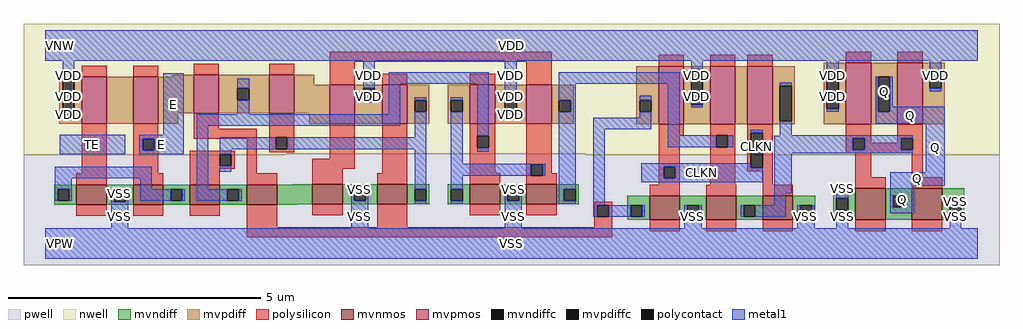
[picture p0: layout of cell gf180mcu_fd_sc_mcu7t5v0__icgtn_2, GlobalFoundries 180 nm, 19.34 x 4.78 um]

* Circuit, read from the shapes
.subckt gf180mcu_fd_sc_mcu7t5v0__icgtn_2 CLKN E TE Q VDD VNW VPW VSS
XM1 VSS TE n1 VPW nfet_06v0 w=0.395u l=0.6u
XM2 n1 E VSS VPW nfet_06v0 w=0.395u l=0.6u
XM3 n2 n3 n1 VPW nfet_06v0 w=0.395u l=0.6u
XM4 n4 n5 n2 VPW nfet_06v0 w=0.395u l=0.6u
XM5 VSS n6 n4 VPW nfet_06v0 w=0.395u l=0.6u
XM6 n3 n5 VSS VPW nfet_06v0 w=0.395u l=0.6u
XM7 VSS n2 n6 VPW nfet_06v0 w=0.395u l=0.6u
XM8 n7 n6 VSS VPW nfet_06v0 w=0.395u l=0.6u
XM9 VSS CLKN n5 VPW nfet_06v0 w=0.475u l=0.6u
XM10 n8 n7 VSS VPW nfet_06v0 w=0.475u l=0.6u
XM11 VSS CLKN n8 VPW nfet_06v0 w=0.475u l=0.6u
XM12 Q n8 VSS VPW nfet_06v0 w=0.63u l=0.6u m=2
XM13 n9 TE VDD VNW pfet_06v0 w=0.925u l=0.5u
XM14 n10 E n9 VNW pfet_06v0 w=0.925u l=0.5u
XM15 n2 n5 n10 VNW pfet_06v0 w=0.765u l=0.5u
XM16 n11 n3 n2 VNW pfet_06v0 w=0.765u l=0.5u
XM17 VDD n6 n11 VNW pfet_06v0 w=0.765u l=0.5u
XM18 n3 n5 VDD VNW pfet_06v0 w=0.765u l=0.5u
XM19 VDD n2 n6 VNW pfet_06v0 w=0.765u l=0.5u
XM20 n7 n6 VDD VNW pfet_06v0 w=0.765u l=0.5u
XM21 VDD CLKN n5 VNW pfet_06v0 w=1.155u l=0.5u
XM22 n12 n7 VDD VNW pfet_06v0 w=1.155u l=0.5u
XM23 n8 CLKN n12 VNW pfet_06v0 w=1.155u l=0.5u
XM24 Q n8 VDD VNW pfet_06v0 w=1.22u l=0.5u m=2
.ends

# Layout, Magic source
magic
tech gf180mcuD
magscale 1 10
<< nwell >>
rect -86 355 3782 870
rect -86 352 952 355
rect 2142 352 3782 355
<< pwell >>
rect 952 352 2142 355
rect -86 -86 3782 352
<< mvnmos >>
rect 124 153 244 232
rect 348 153 468 232
rect 572 153 692 232
rect 799 153 919 232
rect 1059 156 1179 235
rect 1315 156 1435 235
rect 1683 156 1803 235
rect 1907 156 2027 235
rect 2395 93 2515 188
rect 2619 93 2739 188
rect 2843 93 2963 188
rect 3211 93 3331 219
rect 3435 93 3555 219
<< mvpmos >>
rect 144 475 244 660
rect 348 475 448 660
rect 588 515 688 668
rect 887 515 987 668
rect 1127 475 1227 628
rect 1335 475 1435 628
rect 1683 475 1783 628
rect 1907 475 2007 628
rect 2431 472 2531 703
rect 2635 472 2735 703
rect 2783 472 2883 703
rect 3173 472 3273 716
rect 3377 472 3477 716
<< mvndiff >>
rect 979 232 1059 235
rect 36 215 124 232
rect 36 169 49 215
rect 95 169 124 215
rect 36 153 124 169
rect 244 212 348 232
rect 244 166 273 212
rect 319 166 348 212
rect 244 153 348 166
rect 468 215 572 232
rect 468 169 497 215
rect 543 169 572 215
rect 468 153 572 169
rect 692 215 799 232
rect 692 169 721 215
rect 767 169 799 215
rect 692 153 799 169
rect 919 156 1059 232
rect 1179 215 1315 235
rect 1179 169 1224 215
rect 1270 169 1315 215
rect 1179 156 1315 169
rect 1435 215 1523 235
rect 1435 169 1464 215
rect 1510 169 1523 215
rect 1435 156 1523 169
rect 1595 215 1683 235
rect 1595 169 1608 215
rect 1654 169 1683 215
rect 1595 156 1683 169
rect 1803 215 1907 235
rect 1803 169 1832 215
rect 1878 169 1907 215
rect 1803 156 1907 169
rect 2027 215 2115 235
rect 2027 169 2056 215
rect 2102 169 2115 215
rect 2027 156 2115 169
rect 919 153 999 156
rect 2307 152 2395 188
rect 2307 106 2320 152
rect 2366 106 2395 152
rect 2307 93 2395 106
rect 2515 152 2619 188
rect 2515 106 2544 152
rect 2590 106 2619 152
rect 2515 93 2619 106
rect 2739 152 2843 188
rect 2739 106 2768 152
rect 2814 106 2843 152
rect 2739 93 2843 106
rect 2963 152 3051 188
rect 2963 106 2992 152
rect 3038 106 3051 152
rect 2963 93 3051 106
rect 3123 178 3211 219
rect 3123 132 3136 178
rect 3182 132 3211 178
rect 3123 93 3211 132
rect 3331 189 3435 219
rect 3331 143 3360 189
rect 3406 143 3435 189
rect 3331 93 3435 143
rect 3555 172 3643 219
rect 3555 126 3584 172
rect 3630 126 3643 172
rect 3555 93 3643 126
<< mvpdiff >>
rect 508 660 588 668
rect 56 647 144 660
rect 56 507 69 647
rect 115 507 144 647
rect 56 475 144 507
rect 244 475 348 660
rect 448 515 588 660
rect 688 614 887 668
rect 688 568 762 614
rect 808 568 887 614
rect 688 515 887 568
rect 987 628 1067 668
rect 987 515 1127 628
rect 448 475 528 515
rect 1047 475 1127 515
rect 1227 615 1335 628
rect 1227 569 1260 615
rect 1306 569 1335 615
rect 1227 475 1335 569
rect 1435 567 1523 628
rect 1435 521 1464 567
rect 1510 521 1523 567
rect 1435 475 1523 521
rect 1595 567 1683 628
rect 1595 521 1608 567
rect 1654 521 1683 567
rect 1595 475 1683 521
rect 1783 568 1907 628
rect 1783 522 1822 568
rect 1868 522 1907 568
rect 1783 475 1907 522
rect 2007 568 2095 628
rect 2007 522 2036 568
rect 2082 522 2095 568
rect 2007 475 2095 522
rect 2343 567 2431 703
rect 2343 521 2356 567
rect 2402 521 2431 567
rect 2343 472 2431 521
rect 2531 690 2635 703
rect 2531 550 2560 690
rect 2606 550 2635 690
rect 2531 472 2635 550
rect 2735 472 2783 703
rect 2883 625 2971 703
rect 2883 485 2912 625
rect 2958 485 2971 625
rect 2883 472 2971 485
rect 3085 673 3173 716
rect 3085 533 3098 673
rect 3144 533 3173 673
rect 3085 472 3173 533
rect 3273 661 3377 716
rect 3273 521 3302 661
rect 3348 521 3377 661
rect 3273 472 3377 521
rect 3477 661 3565 716
rect 3477 615 3506 661
rect 3552 615 3565 661
rect 3477 472 3565 615
<< mvndiffc >>
rect 49 169 95 215
rect 273 166 319 212
rect 497 169 543 215
rect 721 169 767 215
rect 1224 169 1270 215
rect 1464 169 1510 215
rect 1608 169 1654 215
rect 1832 169 1878 215
rect 2056 169 2102 215
rect 2320 106 2366 152
rect 2544 106 2590 152
rect 2768 106 2814 152
rect 2992 106 3038 152
rect 3136 132 3182 178
rect 3360 143 3406 189
rect 3584 126 3630 172
<< mvpdiffc >>
rect 69 507 115 647
rect 762 568 808 614
rect 1260 569 1306 615
rect 1464 521 1510 567
rect 1608 521 1654 567
rect 1822 522 1868 568
rect 2036 522 2082 568
rect 2356 521 2402 567
rect 2560 550 2606 690
rect 2912 485 2958 625
rect 3098 533 3144 673
rect 3302 521 3348 661
rect 3506 615 3552 661
<< polysilicon >>
rect 1127 720 2007 760
rect 144 660 244 704
rect 348 660 448 704
rect 588 668 688 712
rect 887 668 987 712
rect 1127 628 1227 720
rect 1335 628 1435 672
rect 1683 628 1783 672
rect 1907 628 2007 720
rect 2431 703 2531 747
rect 2635 703 2735 747
rect 2783 703 2883 747
rect 3173 716 3273 760
rect 3377 716 3477 760
rect 144 415 244 475
rect 144 369 159 415
rect 205 369 244 415
rect 144 279 244 369
rect 124 232 244 279
rect 348 415 448 475
rect 588 455 688 515
rect 588 415 839 455
rect 348 369 387 415
rect 433 369 448 415
rect 348 279 448 369
rect 572 354 751 367
rect 572 308 692 354
rect 738 308 751 354
rect 572 295 751 308
rect 348 232 468 279
rect 572 232 692 295
rect 799 279 839 415
rect 887 420 987 515
rect 887 374 913 420
rect 959 374 987 420
rect 887 361 987 374
rect 1127 335 1227 475
rect 1059 295 1227 335
rect 799 232 919 279
rect 1059 235 1179 295
rect 1335 279 1435 475
rect 1315 235 1435 279
rect 1683 426 1783 475
rect 1683 380 1712 426
rect 1758 380 1783 426
rect 1683 279 1783 380
rect 1907 314 2007 475
rect 1683 235 1803 279
rect 1907 268 1925 314
rect 1971 279 2007 314
rect 2431 428 2531 472
rect 2635 428 2735 472
rect 2431 304 2515 428
rect 1971 268 2027 279
rect 1907 235 2027 268
rect 2431 258 2451 304
rect 2497 258 2515 304
rect 2431 232 2515 258
rect 2635 382 2659 428
rect 2705 382 2735 428
rect 2635 232 2735 382
rect 2783 439 2883 472
rect 2783 299 2797 439
rect 2843 299 2883 439
rect 3173 417 3273 472
rect 3173 371 3201 417
rect 3247 398 3273 417
rect 3377 417 3477 472
rect 3377 398 3392 417
rect 3247 371 3392 398
rect 3438 371 3477 417
rect 3173 358 3477 371
rect 2783 286 2883 299
rect 2843 232 2883 286
rect 3211 263 3273 358
rect 3435 263 3477 358
rect 2395 188 2515 232
rect 2619 188 2739 232
rect 2843 188 2963 232
rect 3211 219 3331 263
rect 3435 219 3555 263
rect 124 109 244 153
rect 348 109 468 153
rect 572 109 692 153
rect 799 64 919 153
rect 1059 112 1179 156
rect 1315 64 1435 156
rect 1683 112 1803 156
rect 1907 112 2027 156
rect 2175 152 2247 165
rect 2175 106 2188 152
rect 2234 106 2247 152
rect 2175 64 2247 106
rect 799 24 2247 64
rect 2395 49 2515 93
rect 2619 49 2739 93
rect 2843 49 2963 93
rect 3211 49 3331 93
rect 3435 49 3555 93
<< polycontact >>
rect 159 369 205 415
rect 387 369 433 415
rect 692 308 738 354
rect 913 374 959 420
rect 1712 380 1758 426
rect 1925 268 1971 314
rect 2451 258 2497 304
rect 2659 382 2705 428
rect 2797 299 2843 439
rect 3201 371 3247 417
rect 3392 371 3438 417
rect 2188 106 2234 152
<< metal1 >>
rect 0 724 3696 844
rect 69 647 115 724
rect 69 496 115 507
rect 468 430 550 674
rect 762 614 808 653
rect 762 512 808 568
rect 1260 615 1306 724
rect 1260 558 1306 569
rect 1362 632 1758 678
rect 1362 512 1408 632
rect 58 415 318 430
rect 58 369 159 415
rect 205 369 318 415
rect 58 354 318 369
rect 373 415 550 430
rect 373 369 387 415
rect 433 369 550 415
rect 373 354 550 369
rect 600 466 1408 512
rect 1464 567 1510 580
rect 38 258 423 304
rect 38 215 106 258
rect 38 169 49 215
rect 95 169 106 215
rect 377 215 423 258
rect 600 215 646 466
rect 1464 420 1510 521
rect 692 374 913 420
rect 959 374 1510 420
rect 692 354 738 374
rect 692 284 738 308
rect 1464 215 1510 374
rect 262 166 273 212
rect 319 166 330 212
rect 377 169 497 215
rect 543 169 554 215
rect 600 169 721 215
rect 767 169 778 215
rect 1213 169 1224 215
rect 1270 169 1281 215
rect 262 60 330 166
rect 1213 60 1281 169
rect 1464 156 1510 169
rect 1608 567 1654 580
rect 1608 315 1654 521
rect 1712 426 1758 632
rect 1822 568 1868 724
rect 2560 690 2606 724
rect 1822 494 1868 522
rect 2036 632 2514 678
rect 2036 568 2102 632
rect 2082 522 2102 568
rect 1712 364 1758 380
rect 1608 314 1982 315
rect 1608 268 1925 314
rect 1971 268 1982 314
rect 1608 215 1654 268
rect 2036 215 2102 522
rect 2356 567 2402 586
rect 2356 499 2402 521
rect 1608 156 1654 169
rect 1821 169 1832 215
rect 1878 169 1889 215
rect 1821 60 1889 169
rect 2036 169 2056 215
rect 2036 156 2102 169
rect 2172 452 2402 499
rect 2172 152 2218 452
rect 2468 428 2514 632
rect 3098 673 3144 724
rect 2560 539 2606 550
rect 2912 625 2958 636
rect 3506 661 3552 724
rect 3098 522 3144 533
rect 2797 439 2843 450
rect 2468 382 2659 428
rect 2705 382 2726 428
rect 2362 304 2797 318
rect 2362 258 2451 304
rect 2497 299 2797 304
rect 2912 428 2958 485
rect 3291 521 3302 661
rect 3348 542 3359 661
rect 3506 604 3552 615
rect 3348 521 3566 542
rect 3291 474 3566 521
rect 2912 426 3438 428
rect 2497 258 2843 299
rect 2362 242 2843 258
rect 2889 417 3438 426
rect 2889 371 3201 417
rect 3247 371 3392 417
rect 2889 358 3438 371
rect 2889 198 2958 358
rect 3490 283 3566 474
rect 3350 229 3566 283
rect 2889 152 2935 198
rect 3136 178 3182 218
rect 2172 106 2188 152
rect 2234 106 2320 152
rect 2366 106 2377 152
rect 2533 106 2544 152
rect 2590 106 2601 152
rect 2757 106 2768 152
rect 2814 106 2935 152
rect 2981 106 2992 152
rect 3038 106 3049 152
rect 2533 60 2601 106
rect 2981 60 3049 106
rect 3136 60 3182 132
rect 3350 189 3444 229
rect 3350 143 3360 189
rect 3406 143 3444 189
rect 3350 120 3444 143
rect 3584 172 3630 183
rect 3584 60 3630 126
rect 0 -60 3696 60
<< labels >>
flabel metal1 s 3291 542 3359 661 0 FreeSans 400 0 0 0 Q
port 4 nsew default output
flabel metal1 s 58 354 318 430 0 FreeSans 400 0 0 0 TE
port 3 nsew default input
flabel metal1 s 0 724 3696 844 0 FreeSans 400 0 0 0 VDD
port 5 nsew power bidirectional abutment
flabel metal1 s 3136 215 3182 218 0 FreeSans 400 0 0 0 VSS
port 8 nsew ground bidirectional abutment
flabel metal1 s 2797 318 2843 450 0 FreeSans 400 0 0 0 CLKN
port 1 nsew clock input
flabel metal1 s 468 430 550 674 0 FreeSans 400 0 0 0 E
port 2 nsew default input
flabel nwell s 10 734 110 834 0 FreeSans 400 0 0 0 VNW
port 6 nsew power bidirectional
flabel pwell s 10 -50 110 50 0 FreeSans 400 0 0 0 VPW
port 7 nsew ground bidirectional
rlabel metal1 s 2362 242 2843 318 1 CLKN
port 1 nsew clock input
rlabel metal1 s 373 354 550 430 1 E
port 2 nsew default input
rlabel metal1 s 3291 474 3566 542 1 Q
port 4 nsew default output
rlabel metal1 s 3490 283 3566 474 1 Q
port 4 nsew default output
rlabel metal1 s 3350 229 3566 283 1 Q
port 4 nsew default output
rlabel metal1 s 3350 120 3444 229 1 Q
port 4 nsew default output
rlabel metal1 s 3506 604 3552 724 1 VDD
port 5 nsew power bidirectional abutment
rlabel metal1 s 3098 604 3144 724 1 VDD
port 5 nsew power bidirectional abutment
rlabel metal1 s 2560 604 2606 724 1 VDD
port 5 nsew power bidirectional abutment
rlabel metal1 s 1822 604 1868 724 1 VDD
port 5 nsew power bidirectional abutment
rlabel metal1 s 1260 604 1306 724 1 VDD
port 5 nsew power bidirectional abutment
rlabel metal1 s 69 604 115 724 1 VDD
port 5 nsew power bidirectional abutment
rlabel metal1 s 3098 558 3144 604 1 VDD
port 5 nsew power bidirectional abutment
rlabel metal1 s 2560 558 2606 604 1 VDD
port 5 nsew power bidirectional abutment
rlabel metal1 s 1822 558 1868 604 1 VDD
port 5 nsew power bidirectional abutment
rlabel metal1 s 1260 558 1306 604 1 VDD
port 5 nsew power bidirectional abutment
rlabel metal1 s 69 558 115 604 1 VDD
port 5 nsew power bidirectional abutment
rlabel metal1 s 3098 539 3144 558 1 VDD
port 5 nsew power bidirectional abutment
rlabel metal1 s 2560 539 2606 558 1 VDD
port 5 nsew power bidirectional abutment
rlabel metal1 s 1822 539 1868 558 1 VDD
port 5 nsew power bidirectional abutment
rlabel metal1 s 69 539 115 558 1 VDD
port 5 nsew power bidirectional abutment
rlabel metal1 s 3098 522 3144 539 1 VDD
port 5 nsew power bidirectional abutment
rlabel metal1 s 1822 522 1868 539 1 VDD
port 5 nsew power bidirectional abutment
rlabel metal1 s 69 522 115 539 1 VDD
port 5 nsew power bidirectional abutment
rlabel metal1 s 1822 496 1868 522 1 VDD
port 5 nsew power bidirectional abutment
rlabel metal1 s 69 496 115 522 1 VDD
port 5 nsew power bidirectional abutment
rlabel metal1 s 1822 494 1868 496 1 VDD
port 5 nsew power bidirectional abutment
rlabel metal1 s 3136 212 3182 215 1 VSS
port 8 nsew ground bidirectional abutment
rlabel metal1 s 1821 212 1889 215 1 VSS
port 8 nsew ground bidirectional abutment
rlabel metal1 s 1213 212 1281 215 1 VSS
port 8 nsew ground bidirectional abutment
rlabel metal1 s 3136 183 3182 212 1 VSS
port 8 nsew ground bidirectional abutment
rlabel metal1 s 1821 183 1889 212 1 VSS
port 8 nsew ground bidirectional abutment
rlabel metal1 s 1213 183 1281 212 1 VSS
port 8 nsew ground bidirectional abutment
rlabel metal1 s 262 183 330 212 1 VSS
port 8 nsew ground bidirectional abutment
rlabel metal1 s 3584 152 3630 183 1 VSS
port 8 nsew ground bidirectional abutment
rlabel metal1 s 3136 152 3182 183 1 VSS
port 8 nsew ground bidirectional abutment
rlabel metal1 s 1821 152 1889 183 1 VSS
port 8 nsew ground bidirectional abutment
rlabel metal1 s 1213 152 1281 183 1 VSS
port 8 nsew ground bidirectional abutment
rlabel metal1 s 262 152 330 183 1 VSS
port 8 nsew ground bidirectional abutment
rlabel metal1 s 3584 60 3630 152 1 VSS
port 8 nsew ground bidirectional abutment
rlabel metal1 s 3136 60 3182 152 1 VSS
port 8 nsew ground bidirectional abutment
rlabel metal1 s 2981 60 3049 152 1 VSS
port 8 nsew ground bidirectional abutment
rlabel metal1 s 2533 60 2601 152 1 VSS
port 8 nsew ground bidirectional abutment
rlabel metal1 s 1821 60 1889 152 1 VSS
port 8 nsew ground bidirectional abutment
rlabel metal1 s 1213 60 1281 152 1 VSS
port 8 nsew ground bidirectional abutment
rlabel metal1 s 262 60 330 152 1 VSS
port 8 nsew ground bidirectional abutment
rlabel metal1 s 0 -60 3696 60 1 VSS
port 8 nsew ground bidirectional abutment
<< properties >>
string FIXED_BBOX 0 0 3696 784
string GDS_END 441922
string GDS_FILE $PDKPATH/libs.ref/gf180mcu_fd_sc_mcu7t5v0/gds/gf180mcu_fd_sc_mcu7t5v0.gds
string GDS_START 433952
string LEFclass core
string LEFsite GF018hv5v_mcu_sc7
string LEFsymmetry X Y
<< end >>
